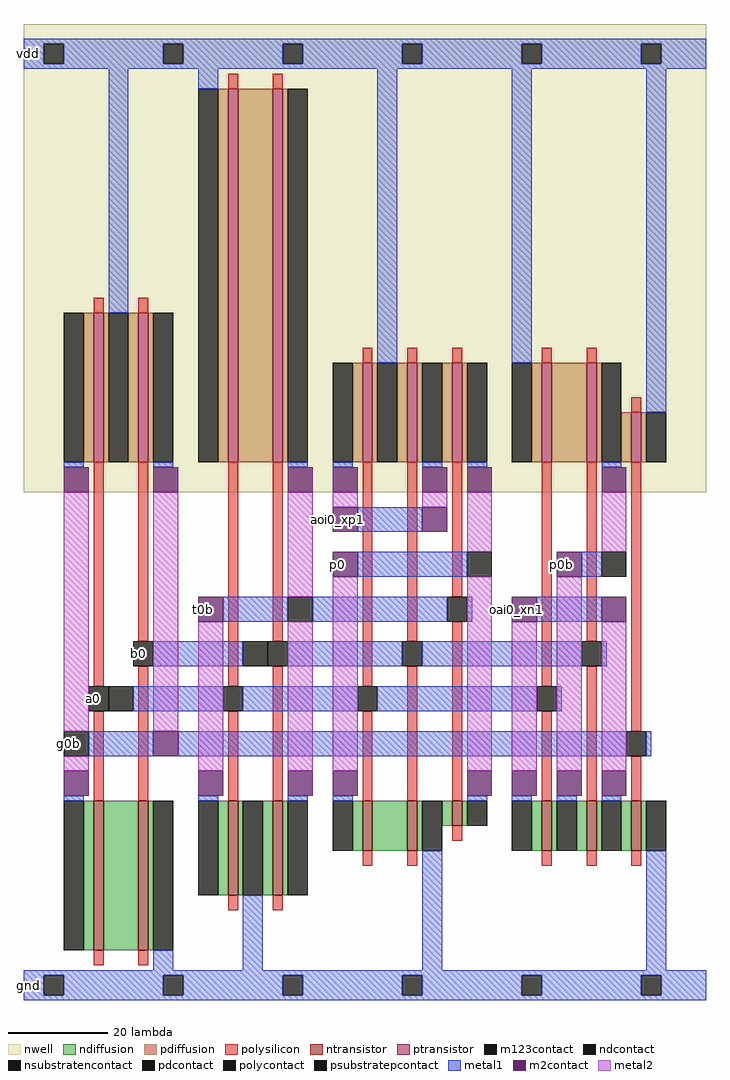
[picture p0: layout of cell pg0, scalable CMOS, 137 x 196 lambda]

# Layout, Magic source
magic
tech scmos
<< nwell >>
rect 0 102 137 196
<< ntransistor >>
rect 14 10 16 40
rect 23 10 25 40
rect 41 21 43 40
rect 50 21 52 40
rect 68 30 70 40
rect 77 30 79 40
rect 86 35 88 40
rect 104 30 106 40
rect 113 30 115 40
rect 122 30 124 40
<< ptransistor >>
rect 14 108 16 138
rect 23 108 25 138
rect 41 108 43 183
rect 50 108 52 183
rect 68 108 70 128
rect 77 108 79 128
rect 86 108 88 128
rect 104 108 106 128
rect 113 108 115 128
rect 122 108 124 118
<< ndiffusion >>
rect 12 10 14 40
rect 16 10 23 40
rect 25 10 26 40
rect 39 21 41 40
rect 43 21 44 40
rect 48 21 50 40
rect 52 21 53 40
rect 66 30 68 40
rect 70 30 77 40
rect 79 30 80 40
rect 84 35 86 40
rect 88 35 89 40
rect 102 30 104 40
rect 106 30 107 40
rect 111 30 113 40
rect 115 30 116 40
rect 120 30 122 40
rect 124 30 125 40
<< pdiffusion >>
rect 12 108 14 138
rect 16 108 17 138
rect 21 108 23 138
rect 25 108 26 138
rect 39 108 41 183
rect 43 108 50 183
rect 52 108 53 183
rect 66 108 68 128
rect 70 108 71 128
rect 75 108 77 128
rect 79 108 80 128
rect 84 108 86 128
rect 88 108 89 128
rect 102 108 104 128
rect 106 108 113 128
rect 115 108 116 128
rect 120 108 122 118
rect 124 108 125 118
<< ndcontact >>
rect 8 10 12 40
rect 26 10 30 40
rect 35 21 39 40
rect 44 21 48 40
rect 53 21 57 40
rect 62 30 66 40
rect 80 30 84 40
rect 89 35 93 40
rect 98 30 102 40
rect 107 30 111 40
rect 116 30 120 40
rect 125 30 129 40
<< pdcontact >>
rect 8 108 12 138
rect 17 108 21 138
rect 26 108 30 138
rect 35 108 39 183
rect 53 108 57 183
rect 62 108 66 128
rect 71 108 75 128
rect 80 108 84 128
rect 89 108 93 128
rect 98 108 102 128
rect 116 108 120 128
rect 125 108 129 118
<< psubstratepcontact >>
rect 4 1 8 5
rect 28 1 32 5
rect 52 1 56 5
rect 76 1 80 5
rect 100 1 104 5
rect 124 1 128 5
<< nsubstratencontact >>
rect 4 188 8 192
rect 28 188 32 192
rect 52 188 56 192
rect 76 188 80 192
rect 100 188 104 192
rect 124 188 128 192
<< polysilicon >>
rect 41 183 43 186
rect 50 183 52 186
rect 14 138 16 141
rect 23 138 25 141
rect 68 128 70 131
rect 77 128 79 131
rect 86 128 88 131
rect 104 128 106 131
rect 113 128 115 131
rect 122 118 124 121
rect 14 63 16 108
rect 23 72 25 108
rect 14 40 16 58
rect 23 40 25 67
rect 41 63 43 108
rect 50 72 52 108
rect 41 40 43 58
rect 50 40 52 67
rect 68 63 70 108
rect 77 72 79 108
rect 86 81 88 108
rect 68 40 70 58
rect 77 40 79 67
rect 86 40 88 76
rect 104 63 106 108
rect 113 72 115 108
rect 104 40 106 58
rect 113 40 115 67
rect 122 54 124 108
rect 122 40 124 49
rect 86 32 88 35
rect 68 27 70 30
rect 77 27 79 30
rect 104 27 106 30
rect 113 27 115 30
rect 122 27 124 30
rect 41 18 43 21
rect 50 18 52 21
rect 14 7 16 10
rect 23 7 25 10
<< polycontact >>
rect 22 67 26 72
rect 13 58 17 63
rect 49 67 53 72
rect 40 58 44 63
rect 85 76 89 81
rect 76 67 80 72
rect 67 58 71 63
rect 112 67 116 72
rect 103 58 107 63
rect 121 49 125 54
<< metal1 >>
rect 0 192 137 193
rect 0 188 4 192
rect 8 188 28 192
rect 32 188 52 192
rect 56 188 76 192
rect 80 188 100 192
rect 104 188 124 192
rect 128 188 137 192
rect 0 187 137 188
rect 17 138 21 187
rect 35 183 39 187
rect 71 128 75 187
rect 98 128 102 187
rect 8 107 12 108
rect 26 107 30 108
rect 53 107 57 108
rect 62 107 66 108
rect 80 107 84 108
rect 125 118 129 187
rect 89 107 93 108
rect 116 107 120 108
rect 67 94 80 99
rect 67 85 89 90
rect 112 85 116 90
rect 40 76 53 81
rect 58 76 85 81
rect 89 76 90 81
rect 103 76 116 81
rect 26 67 44 72
rect 53 67 76 72
rect 80 67 112 72
rect 116 67 117 72
rect 22 58 40 63
rect 44 58 67 63
rect 71 58 103 63
rect 107 58 108 63
rect 13 49 26 54
rect 31 49 121 54
rect 125 49 126 54
rect 8 40 12 41
rect 35 40 39 41
rect 53 40 57 41
rect 62 40 66 41
rect 89 40 93 41
rect 98 40 102 41
rect 107 40 111 41
rect 116 40 120 41
rect 26 6 30 10
rect 44 6 48 21
rect 80 6 84 30
rect 125 6 129 30
rect 0 5 137 6
rect 0 1 4 5
rect 8 1 28 5
rect 32 1 52 5
rect 56 1 76 5
rect 80 1 100 5
rect 104 1 124 5
rect 128 1 137 5
rect 0 0 137 1
<< m2contact >>
rect 8 102 13 107
rect 26 102 31 107
rect 53 102 58 107
rect 62 102 67 107
rect 80 102 85 107
rect 89 102 94 107
rect 116 102 121 107
rect 62 94 67 99
rect 80 94 85 99
rect 62 85 67 90
rect 107 85 112 90
rect 35 76 40 81
rect 98 76 103 81
rect 116 76 121 81
rect 26 49 31 54
rect 8 41 13 46
rect 35 41 40 46
rect 53 41 58 46
rect 62 41 67 46
rect 89 41 94 46
rect 98 41 103 46
rect 107 41 112 46
rect 116 41 121 46
<< metal2 >>
rect 8 54 13 102
rect 26 54 31 102
rect 53 81 58 102
rect 62 99 67 102
rect 80 99 85 102
rect 89 90 94 102
rect 116 90 121 102
rect 8 46 13 49
rect 35 46 40 76
rect 53 46 58 76
rect 62 46 67 85
rect 89 46 94 85
rect 98 46 103 76
rect 107 46 112 85
rect 116 46 121 76
<< m123contact >>
rect 17 58 22 63
rect 8 49 13 54
rect 53 76 58 81
rect 44 67 49 72
rect 89 85 94 90
rect 116 85 121 90
<< labels >>
rlabel metal1 13 58 15 63 0 a0
port 1 nsew
rlabel metal1 22 67 24 72 0 b0
port 2 nsew
rlabel metal1 8 49 10 54 0 g0b
port 3 nsew
rlabel m2contact 62 85 64 90 0 p0
port 4 nsew
rlabel m2contact 107 85 109 90 0 p0b
port 5 nsew
rlabel m2contact 35 76 37 81 0 t0b
port 6 nsew
rlabel m2contact 62 94 64 99 0 aoi0_xp1
rlabel m2contact 98 76 100 81 0 oai0_xn1
rlabel metal1 0 187 2 193 0 vdd
port 7 nsew
rlabel metal1 0 0 2 6 0 gnd
port 8 nsew
<< end >>
